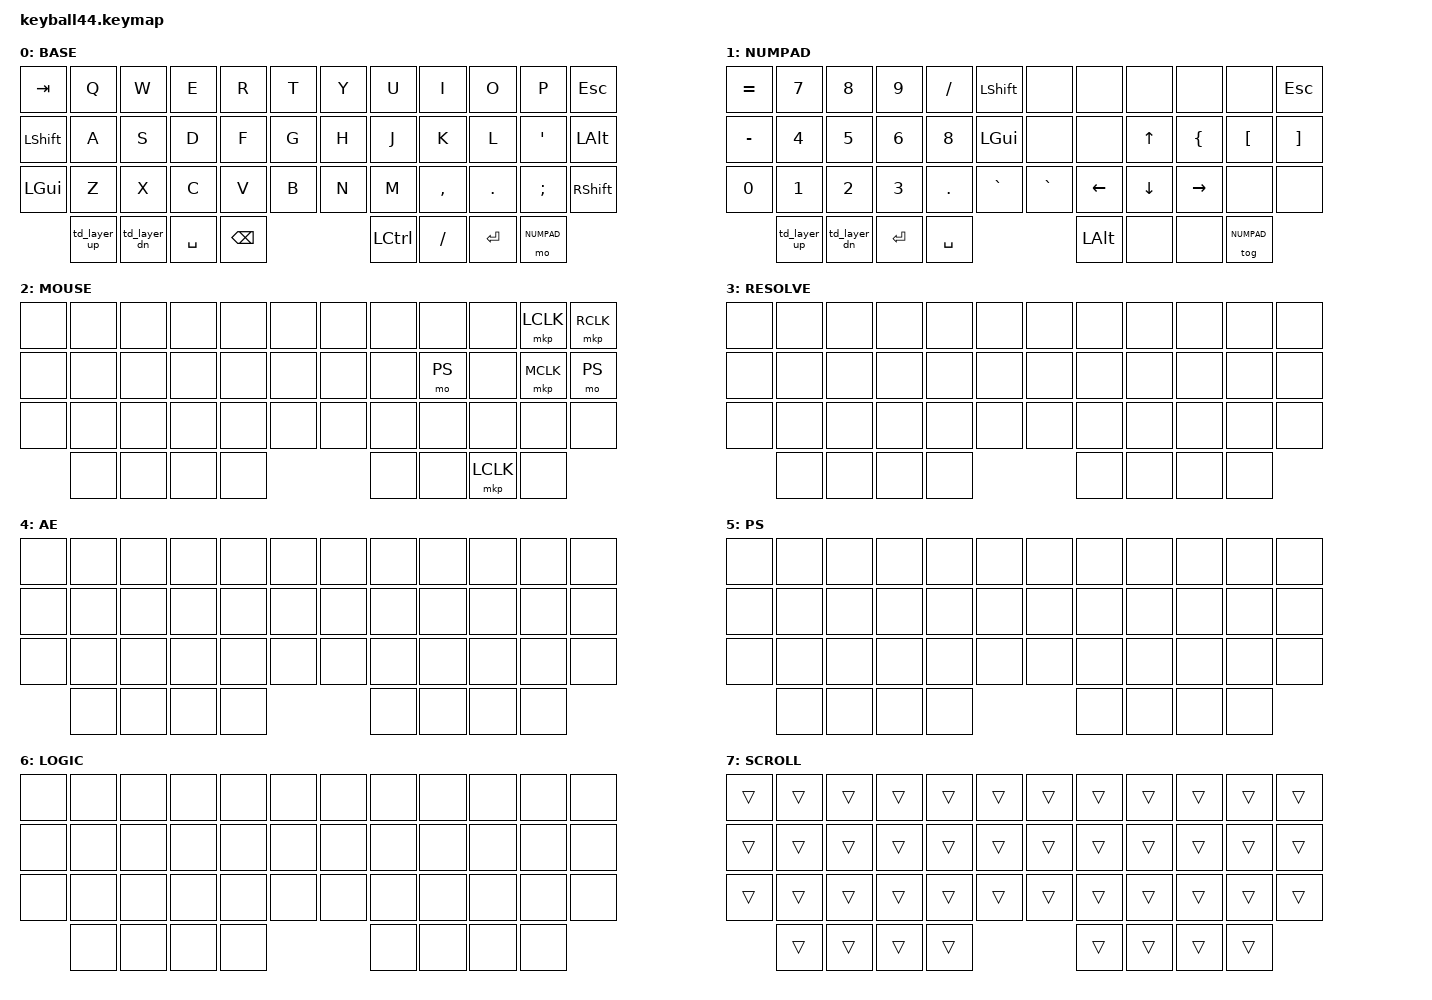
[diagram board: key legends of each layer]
#define BASE    0
#define NUMPAD  1
#define MOUSE   2
#define RESOLVE 3
#define AE      4
#define PS      5
#define LOGIC   6
#define SCROLL  7

#include <behaviors/mouse_keys.dtsi>
#include <behaviors.dtsi>
#include <dt-bindings/zmk/bt.h>
#include <dt-bindings/zmk/keys.h>
#include <dt-bindings/zmk/mouse.h>

&nice_view_spi { cs-gpios = <&pro_micro 1 GPIO_ACTIVE_HIGH>; };

&lt {
    tapping-term-ms = <240>;
    flavor = "balanced";
    quick-tap-ms = <150>;
};

&mt {
    tapping-term-ms = <200>;
    flavor = "tap-preferred";
    quick-tap-ms = <150>;
};

/ {
    behaviors {
        td_layer_up: tap_dance_layer_up {
            compatible = "zmk,behavior-tap-dance";
            label = "TD_LAYER_UP";
            #binding-cells = <0>;
            tapping-term-ms = <250>;
            bindings = <&to NUMPAD>, <&to BASE>;
        };

        td_layer_dn: tap_dance_layer_dn {
            compatible = "zmk,behavior-tap-dance";
            label = "TD_LAYER_DN";
            #binding-cells = <0>;
            tapping-term-ms = <250>;
            bindings = <&to BASE>, <&to BASE>;
        };

        td_numpad: tap_dance_numpad {
            compatible = "zmk,behavior-tap-dance";
            label = "TD_NUMPAD";
            #binding-cells = <0>;
            tapping-term-ms = <250>;
            bindings = <&tog NUMPAD>, <&tog NUMPAD>;
        };
    };

    keymap {
        compatible = "zmk,keymap";

        base_layer {
            label = "BASE";
            bindings = <
&kp TAB    &kp Q     &kp W             &kp E         &kp R      &kp T              &kp Y    &kp U      &kp I      &kp O    &kp P     &kp ESC
&kp LSHFT  &kp A     &kp S             &kp D         &kp F      &kp G              &kp H    &kp J      &kp K      &kp L    &kp SQT   &kp LALT
&kp LGUI   &kp Z     &kp X             &kp C         &kp V      &kp B              &kp N    &kp M      &kp COMMA  &kp DOT  &kp SEMI  &kp RSHFT
           &td_layer_up  &td_layer_dn  &kp SPACE     &kp BSPC  &kp LCTRL           &kp FSLH &kp ENTER                      &mo NUMPAD
            >;
        };

        numpad_layer {
            label = "NUMPAD";
            bindings = <
&kp EQUAL  &kp N7  &kp N8        &kp N9     &kp SLASH     &kp LSHFT                     &none      &none     &none     &none      &none     &kp ESC
&kp MINUS  &kp N4  &kp N5        &kp N6     &kp N8        &kp LGUI                      &none      &none     &kp UP    &kp LBRC   &kp LBKT  &kp RBKT
&kp N0     &kp N1  &kp N2        &kp N3     &kp DOT       &kp GRAVE                     &kp GRAVE  &kp LEFT  &kp DOWN  &kp RIGHT  &none     &none
           &td_layer_up  &td_layer_dn       &kp ENTER     &kp SPACE      &kp LALT       &none  &none                  &tog NUMPAD
            >;
        };

        mouse_layer {
            label = "MOUSE";
            bindings = <
&none  &none  &none  &none  &none  &none              &none      &none      &none  &none      &mkp LCLK  &mkp RCLK
&none  &none  &none  &none  &none  &none              &none      &none      &mo PS &none      &mkp MCLK  &mo PS
&none  &none  &none  &none  &none  &none              &none      &none      &none  &none      &none      &none
&none  &none  &none  &none  &none                     &none      &mkp LCLK                    &none
            >;
        };

        resolve_layer {
            label = "RESOLVE";
            bindings = <
&none  &none  &none  &none  &none  &none              &none  &none  &none  &none  &none  &none
&none  &none  &none  &none  &none  &none              &none  &none  &none  &none  &none  &none
&none  &none  &none  &none  &none  &none              &none  &none  &none  &none  &none  &none
&none  &none  &none  &none  &none              &none  &none              &none
            >;
        };

        ae_layer {
            label = "AE";
            bindings = <
&none  &none  &none  &none  &none  &none              &none  &none  &none  &none  &none  &none
&none  &none  &none  &none  &none  &none              &none  &none  &none  &none  &none  &none
&none  &none  &none  &none  &none  &none              &none  &none  &none  &none  &none  &none
&none  &none  &none  &none  &none              &none  &none              &none
            >;
        };

        ps_layer {
            label = "PS";
            bindings = <
&none  &none  &none  &none  &none  &none              &none  &none  &none  &none  &none  &none
&none  &none  &none  &none  &none  &none              &none  &none  &none  &none  &none  &none
&none  &none  &none  &none  &none  &none              &none  &none  &none  &none  &none  &none
&none  &none  &none  &none  &none              &none  &none              &none
            >;
        };

        logic_layer {
            label = "LOGIC";
            bindings = <
&none  &none  &none  &none  &none  &none              &none  &none  &none  &none  &none  &none
&none  &none  &none  &none  &none  &none              &none  &none  &none  &none  &none  &none
&none  &none  &none  &none  &none  &none              &none  &none  &none  &none  &none  &none
&none  &none  &none  &none  &none              &none  &none              &none
            >;
        };

        scroll_layer {
            label = "SCROLL";
            bindings = <
&trans  &trans  &trans  &trans  &trans  &trans              &trans  &trans  &trans  &trans  &trans  &trans
&trans  &trans  &trans  &trans  &trans  &trans              &trans  &trans  &trans  &trans  &trans  &trans
&trans  &trans  &trans  &trans  &trans  &trans              &trans  &trans  &trans  &trans  &trans  &trans
&trans  &trans  &trans  &trans  &trans              &trans  &trans                                  &trans
            >;
        };
    };
};
